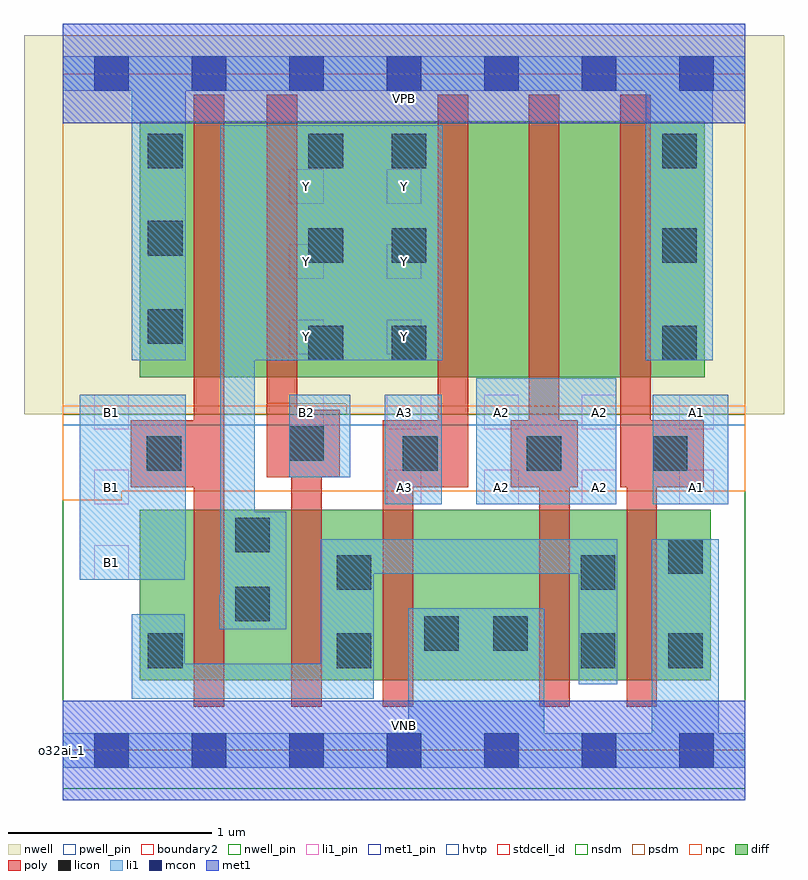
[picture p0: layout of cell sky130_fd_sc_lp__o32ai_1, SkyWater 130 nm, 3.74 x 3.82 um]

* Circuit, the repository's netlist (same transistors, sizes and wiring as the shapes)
* Copyright 2020 The SkyWater PDK Authors
*
* Licensed under the Apache License, Version 2.0 (the "License");
* you may not use this file except in compliance with the License.
* You may obtain a copy of the License at
*
*     https://www.apache.org/licenses/LICENSE-2.0
*
* Unless required by applicable law or agreed to in writing, software
* distributed under the License is distributed on an "AS IS" BASIS,
* WITHOUT WARRANTIES OR CONDITIONS OF ANY KIND, either express or implied.
* See the License for the specific language governing permissions and
* limitations under the License.
*
* SPDX-License-Identifier: Apache-2.0

.SUBCKT sky130_fd_sc_lp__o32ai_1 A1 A2 A3 B1 B2 VGND VNB VPB VPWR Y
*.PININFO A1:I A2:I A3:I B1:I B2:I VGND:I VNB:I VPB:I VPWR:I Y:O
MMPA0 VPWR A1 sndA1 VPB sky130_fd_pr__pfet_01v8_hvt m=1 w=1.26U l=0.15U mult=1
+ sa=0.265 sb=0.265 sd=0.28 area=0.063 perim=1.14
MMPA1 sndA1 A2 sndA2 VPB sky130_fd_pr__pfet_01v8_hvt m=1 w=1.26U l=0.15U mult=1
+ sa=0.265 sb=0.265 sd=0.28 area=0.063 perim=1.14
MMPA2 sndA2 A3 Y VPB sky130_fd_pr__pfet_01v8_hvt m=1 w=1.26U l=0.15U mult=1 sa=0.265
+ sb=0.265 sd=0.28 area=0.063 perim=1.14
MMPB0 VPWR B1 sndB1 VPB sky130_fd_pr__pfet_01v8_hvt m=1 w=1.26U l=0.15U mult=1
+ sa=0.265 sb=0.265 sd=0.28 area=0.063 perim=1.14
MMPB1 sndB1 B2 Y VPB sky130_fd_pr__pfet_01v8_hvt m=1 w=1.26U l=0.15U mult=1 sa=0.265
+ sb=0.265 sd=0.28 area=0.063 perim=1.14
MMNA0 pndA A1 VGND VNB sky130_fd_pr__nfet_01v8 m=1 w=0.84U l=0.15U mult=1 sa=0.265
+ sb=0.265 sd=0.28 area=0.063 perim=1.14
MMNA1 pndA A2 VGND VNB sky130_fd_pr__nfet_01v8 m=1 w=0.84U l=0.15U mult=1 sa=0.265
+ sb=0.265 sd=0.28 area=0.063 perim=1.14
MMNA2 pndA A3 VGND VNB sky130_fd_pr__nfet_01v8 m=1 w=0.84U l=0.15U mult=1 sa=0.265
+ sb=0.265 sd=0.28 area=0.063 perim=1.14
MMNB0 Y B1 pndA VNB sky130_fd_pr__nfet_01v8 m=1 w=0.84U l=0.15U mult=1 sa=0.265
+ sb=0.265 sd=0.28 area=0.063 perim=1.14
MMNB1 Y B2 pndA VNB sky130_fd_pr__nfet_01v8 m=1 w=0.84U l=0.15U mult=1 sa=0.265
+ sb=0.265 sd=0.28 area=0.063 perim=1.14
.ENDS sky130_fd_sc_lp__o32ai_1

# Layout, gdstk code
import gdstk
lib = gdstk.Library(unit=1e-6, precision=1e-09)
def R(c, l, rs):  # rectangles x0, y0, x1, y1
    for r in rs: c.add(gdstk.rectangle(r[:2], r[2:], *l))
def A(c, l, x, y, w, h, nx, ny, dx, dy):  # array of equal rectangles
    R(c, l, [(x+i*dx, y+j*dy, x+i*dx+w, y+j*dy+h) for i in range(nx) for j in range(ny)])
def P(c, l, *ps):  # polygons
    for p in ps: c.add(gdstk.Polygon(p, *l))
nwell_pin = (64, 16)
nwell = (64, 20)
diff = (65, 20)
poly = (66, 20)
licon = (66, 44)
li1_pin = (67, 16)
li1 = (67, 20)
mcon = (67, 44)
met1_pin = (68, 16)
met1 = (68, 20)
hvtp = (78, 44)
stdcell_id = (81, 4)
nsdm = (93, 44)
psdm = (94, 20)
npc = (95, 20)
pwell_pin = (122, 16)
boundary2 = (236, 0)

sky130_fd_sc_lp__o32ai_1 = lib.new_cell('sky130_fd_sc_lp__o32ai_1')
R(sky130_fd_sc_lp__o32ai_1, nwell_pin, [(0,3.085,3.36,3.33)])
R(sky130_fd_sc_lp__o32ai_1, nwell, [(-0.19,1.655,3.55,3.52)])
R(sky130_fd_sc_lp__o32ai_1, diff, [(0.38,0.345,3.19,1.185), (0.38,1.835,3.16,3.095)])
R(sky130_fd_sc_lp__o32ai_1, poly, [(2.775,0.215,2.925,1.295), (1.845,1.625,1.995,3.225), (2.295,1.625,2.445,3.225)])
P(sky130_fd_sc_lp__o32ai_1, poly, [(0.795,3.225),(0.645,3.225),(0.645,1.625),(0.335,1.625),(0.335,1.295),(0.645,1.295),(0.645,0.215),(0.795,0.215)],
  [(1.365,1.675),(1.155,1.675),(1.155,3.225),(1.005,3.225),(1.005,1.345),(1.125,1.345),(1.125,0.215),(1.275,0.215),(1.275,1.345),(1.365,1.345)],
  [(1.995,1.625),(1.575,1.625),(1.575,0.215),(1.725,0.215),(1.725,1.295),(1.995,1.295)],
  [(2.535,1.625),(2.205,1.625),(2.205,1.295),(2.345,1.295),(2.345,0.215),(2.495,0.215),(2.495,1.295),(2.535,1.295)],
  [(3.155,1.625),(2.895,1.625),(2.895,3.225),(2.745,3.225),(2.745,1.295),(3.155,1.295)])
R(sky130_fd_sc_lp__o32ai_1, licon, [(0.42,0.405,0.59,0.575), (1.35,0.405,1.52,0.575), (2.55,0.405,2.72,0.575), (2.98,0.405,3.15,0.575), (1.78,0.49,1.95,0.66), (2.12,0.49,2.29,0.66), (0.85,0.635,1.02,0.805), (1.35,0.79,1.52,0.96), (2.55,0.79,2.72,0.96), (2.98,0.87,3.15,1.04), (0.85,0.975,1.02,1.145), (0.415,1.375,0.585,1.545), (1.675,1.375,1.845,1.545), (2.285,1.375,2.455,1.545), (2.905,1.375,3.075,1.545), (1.115,1.425,1.285,1.595), (1.21,1.92,1.38,2.09), (1.62,1.92,1.79,2.09), (2.95,1.92,3.12,2.09), (0.42,2,0.59,2.17), (1.21,2.4,1.38,2.57), (1.62,2.4,1.79,2.57), (2.95,2.4,3.12,2.57), (0.42,2.435,0.59,2.605), (0.42,2.865,0.59,3.035), (1.21,2.865,1.38,3.035), (1.62,2.865,1.79,3.035), (2.95,2.865,3.12,3.035)])
A(sky130_fd_sc_lp__o32ai_1, li1_pin, 0.155, 0.84, 0.17, 0.17, 1, 3, 0, 0.37)
A(sky130_fd_sc_lp__o32ai_1, li1_pin, 1.595, 1.21, 0.17, 0.17, 4, 1, 0.48, 0)
A(sky130_fd_sc_lp__o32ai_1, li1_pin, 1.115, 1.58, 0.17, 0.17, 5, 1, 0.48, 0)
A(sky130_fd_sc_lp__o32ai_1, li1_pin, 1.115, 1.95, 0.17, 0.17, 1, 3, 0, 0.37)
A(sky130_fd_sc_lp__o32ai_1, li1_pin, 1.595, 1.95, 0.17, 0.17, 1, 3, 0, 0.37)
R(sky130_fd_sc_lp__o32ai_1, li1, [(1.585,1.21,1.865,1.75), (2.035,1.21,2.725,1.83), (2.905,1.21,3.275,1.75), (1.115,1.345,1.415,1.75)])
P(sky130_fd_sc_lp__o32ai_1, li1, [(2.87,1.92),(2.87,3.245),(0.605,3.245),(0.605,1.92),(0.34,1.92),(0.34,3.245),(0,3.245),(0,3.415),(3.36,3.415),(3.36,3.245),(3.2,3.245),(3.2,1.92)],
  [(2.9,0.085),(2.9,1.04),(3.23,1.04),(3.23,0.085),(3.36,0.085),(3.36,-0.085),(0,-0.085),(0,0.085),(1.7,0.085),(1.7,0.7),(2.37,0.7),(2.37,0.085)],
  [(1.87,3.075),(1.87,1.92),(0.945,1.92),(0.945,1.175),(1.1,1.175),(1.1,0.595),(0.77,0.595),(0.77,0.765),(0.775,0.765),(0.775,3.075)],
  [(0.605,1.75),(0.085,1.75),(0.085,0.84),(0.6,0.84),(0.6,0.935),(0.605,0.935)],
  [(2.54,0.87),(1.53,0.87),(1.53,0.255),(0.34,0.255),(0.34,0.67),(0.6,0.67),(0.6,0.425),(1.27,0.425),(1.27,1.04),(2.73,1.04),(2.73,0.325),(2.54,0.325)])
A(sky130_fd_sc_lp__o32ai_1, mcon, 0.155, -0.085, 0.17, 0.17, 7, 2, 0.48, 3.33)
R(sky130_fd_sc_lp__o32ai_1, met1_pin, [(0,0,3.36,0.245), (0,3.085,3.36,3.33)])
R(sky130_fd_sc_lp__o32ai_1, met1, [(0,-0.245,3.36,0.245), (0,3.085,3.36,3.575)])
R(sky130_fd_sc_lp__o32ai_1, hvtp, [(0,1.6,3.36,3.33)])
R(sky130_fd_sc_lp__o32ai_1, stdcell_id, [(0,0,3.36,3.33)])
R(sky130_fd_sc_lp__o32ai_1, nsdm, [(0,-0.19,3.36,1.655)])
P(sky130_fd_sc_lp__o32ai_1, psdm, [(3.36,3.52),(0,3.52),(0,1.655),(1.005,1.655),(1.005,1.705),(1.395,1.705),(1.395,1.655),(3.36,1.655)])
P(sky130_fd_sc_lp__o32ai_1, npc, [(3.36,1.695),(0,1.695),(0,1.23),(0.29,1.23),(0.29,1.275),(3.36,1.275)])
R(sky130_fd_sc_lp__o32ai_1, pwell_pin, [(0,0,3.36,0.245)])
R(sky130_fd_sc_lp__o32ai_1, boundary2, [(0,0,3.36,3.33)])
sky130_fd_sc_lp__o32ai_1.add(gdstk.Label('VNB', (1.68,0.123), layer=64, texttype=59))
sky130_fd_sc_lp__o32ai_1.add(gdstk.Label('VPB', (1.68,3.208), layer=64, texttype=5))
sky130_fd_sc_lp__o32ai_1.add(gdstk.Label('o32ai_1', (0,0), layer=83, texttype=44))
sky130_fd_sc_lp__o32ai_1.add(gdstk.Label('VPWR', (1.68,3.208), layer=68, texttype=5))
sky130_fd_sc_lp__o32ai_1.add(gdstk.Label('VGND', (1.68,0.123), layer=68, texttype=5))
sky130_fd_sc_lp__o32ai_1.add(gdstk.Label('A1', (3.12,1.295), layer=67, texttype=5))
sky130_fd_sc_lp__o32ai_1.add(gdstk.Label('A1', (3.12,1.665), layer=67, texttype=5))
sky130_fd_sc_lp__o32ai_1.add(gdstk.Label('A2', (2.16,1.295), layer=67, texttype=5))
sky130_fd_sc_lp__o32ai_1.add(gdstk.Label('A2', (2.16,1.665), layer=67, texttype=5))
sky130_fd_sc_lp__o32ai_1.add(gdstk.Label('A2', (2.64,1.295), layer=67, texttype=5))
sky130_fd_sc_lp__o32ai_1.add(gdstk.Label('A2', (2.64,1.665), layer=67, texttype=5))
sky130_fd_sc_lp__o32ai_1.add(gdstk.Label('A3', (1.68,1.295), layer=67, texttype=5))
sky130_fd_sc_lp__o32ai_1.add(gdstk.Label('A3', (1.68,1.665), layer=67, texttype=5))
sky130_fd_sc_lp__o32ai_1.add(gdstk.Label('Y', (1.2,2.035), layer=67, texttype=5))
sky130_fd_sc_lp__o32ai_1.add(gdstk.Label('Y', (1.2,2.405), layer=67, texttype=5))
sky130_fd_sc_lp__o32ai_1.add(gdstk.Label('Y', (1.2,2.775), layer=67, texttype=5))
sky130_fd_sc_lp__o32ai_1.add(gdstk.Label('B1', (0.24,0.925), layer=67, texttype=5))
sky130_fd_sc_lp__o32ai_1.add(gdstk.Label('B1', (0.24,1.295), layer=67, texttype=5))
sky130_fd_sc_lp__o32ai_1.add(gdstk.Label('B1', (0.24,1.665), layer=67, texttype=5))
sky130_fd_sc_lp__o32ai_1.add(gdstk.Label('B2', (1.2,1.665), layer=67, texttype=5))
sky130_fd_sc_lp__o32ai_1.add(gdstk.Label('Y', (1.68,2.035), layer=67, texttype=5))
sky130_fd_sc_lp__o32ai_1.add(gdstk.Label('Y', (1.68,2.405), layer=67, texttype=5))
sky130_fd_sc_lp__o32ai_1.add(gdstk.Label('Y', (1.68,2.775), layer=67, texttype=5))

lib.write_gds('sky130_fd_sc_lp__o32ai_1.gds')
